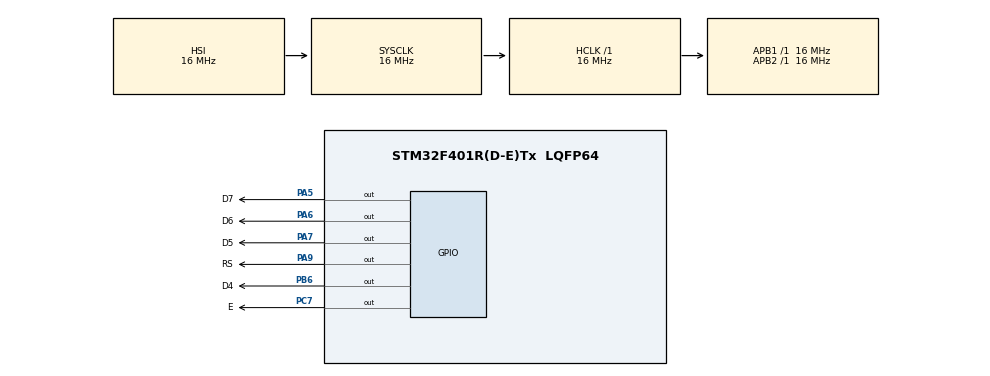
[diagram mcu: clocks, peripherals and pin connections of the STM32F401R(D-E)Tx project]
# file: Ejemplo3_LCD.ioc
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Mcu.Family=STM32F4
Mcu.Name=STM32F401R(D-E)Tx
Mcu.Package=LQFP64
NVIC.PriorityGroup=NVIC_PRIORITYGROUP_4
PA13.Mode=Serial_Wire
PA13.Signal=SYS_JTMS-SWDIO
PA14.Mode=Serial_Wire
PA14.Signal=SYS_JTCK-SWCLK
PA5.GPIO_Label=D7
PA5.Signal=GPIO_Output
PA6.GPIO_Label=D6
PA6.Signal=GPIO_Output
PA7.GPIO_Label=D5
PA7.Signal=GPIO_Output
PA9.GPIO_Label=RS
PA9.Signal=GPIO_Output
PB6.GPIO_Label=D4
PB6.Signal=GPIO_Output
PC7.GPIO_Label=E
PC7.Signal=GPIO_Output
ProjectManager.HeapSize=0x200
ProjectManager.StackSize=0x400
ProjectManager.TargetToolchain=STM32CubeIDE
RCC.AHBFreq_Value=16000000
RCC.APB1Freq_Value=16000000
RCC.APB2Freq_Value=16000000
RCC.CortexFreq_Value=16000000
RCC.HSE_VALUE=25000000
RCC.HSI_VALUE=16000000
RCC.LSE_VALUE=32768
RCC.SYSCLKFreq_VALUE=16000000
RCC.VCOOutputFreq_Value=192000000
board=custom

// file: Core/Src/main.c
/* USER CODE BEGIN Header */
/**
  ******************************************************************************
  * @file           : main.c
  * @brief          : Main program body
  ******************************************************************************
  * @attention
  *
  * Copyright (c) 2023 STMicroelectronics.
  * All rights reserved.
  *
  * This software is licensed under terms that can be found in the LICENSE file
  * in the root directory of this software component.
  * If no LICENSE file comes with this software, it is provided AS-IS.
  *
  ******************************************************************************
  */
/* USER CODE END Header */
#include "main.h"

/* USER CODE BEGIN Includes */
#include "LCD.h"
/* USER CODE END Includes */

void SystemClock_Config(void);
static void MX_GPIO_Init(void);

int main(void)
{

  /* MCU Configuration--------------------------------------------------------*/

  /* Reset of all peripherals, Initializes the Flash interface and the Systick. */
  HAL_Init();

  /* Configure the system clock */
  SystemClock_Config();

  /* Initialize all configured peripherals */
  MX_GPIO_Init();
  /* USER CODE BEGIN 2 */
  LCD_STM32_INIT();
 /* LCD_STM32_SET_CURSOR(5,fila2);
  LCD_STM32_PRINT_CHAR('S');
  LCD_STM32_PRINT_CHAR('T');
  LCD_STM32_PRINT_CHAR('M');
  LCD_STM32_PRINT_CHAR('3');
  LCD_STM32_PRINT_CHAR('2');*/

  LCD_STM32_New_Char(1, 0x0A,0x1F,0x1F, 0x1F,0x0E,0x04,0x00,0x00);
  LCD_STM32_New_Char(2,   0x00,0x0F,0x1F,0x18,0x18,0x1F,0x0F,0x00);
  LCD_STM32_SET_CURSOR(0, fila1);
  LCD_STM32_PRINT_STRING("Welcome STM32");
  LCD_STM32_Print_New_Char(2);
  LCD_STM32_SET_CURSOR(0, fila2);
  LCD_STM32_PRINT_STRING("GAAAAAA");
  LCD_STM32_Print_New_Char(1);

  uint8_t i=0;
  uint8_t i_str[5];
  /* USER CODE END 2 */

  /* Infinite loop */
  /* USER CODE BEGIN WHILE */
  while (1)
  {
	  for(i=0;i<255;i++){
		  sprintf(i_str,"%03u",i);
		  LCD_STM32_SET_CURSOR(10, fila2);
		  LCD_STM32_PRINT_STRING(i_str);
		  HAL_Delay(500);

	  }

    /* USER CODE END WHILE */

  }
}

void SystemClock_Config(void)
{
  RCC_OscInitTypeDef RCC_OscInitStruct = {0};
  RCC_ClkInitTypeDef RCC_ClkInitStruct = {0};

  /** Configure the main internal regulator output voltage
  */
  __HAL_RCC_PWR_CLK_ENABLE();
  __HAL_PWR_VOLTAGESCALING_CONFIG(PWR_REGULATOR_VOLTAGE_SCALE2);

  /** Initializes the RCC Oscillators according to the specified parameters
  * in the RCC_OscInitTypeDef structure.
  */
  RCC_OscInitStruct.OscillatorType = RCC_OSCILLATORTYPE_HSI;
  RCC_OscInitStruct.HSIState = RCC_HSI_ON;
  RCC_OscInitStruct.HSICalibrationValue = RCC_HSICALIBRATION_DEFAULT;
  RCC_OscInitStruct.PLL.PLLState = RCC_PLL_NONE;
  if (HAL_RCC_OscConfig(&RCC_OscInitStruct) != HAL_OK)
  {
    Error_Handler();
  }

  /** Initializes the CPU, AHB and APB buses clocks
  */
  RCC_ClkInitStruct.ClockType = RCC_CLOCKTYPE_HCLK|RCC_CLOCKTYPE_SYSCLK
                              |RCC_CLOCKTYPE_PCLK1|RCC_CLOCKTYPE_PCLK2;
  RCC_ClkInitStruct.SYSCLKSource = RCC_SYSCLKSOURCE_HSI;
  RCC_ClkInitStruct.AHBCLKDivider = RCC_SYSCLK_DIV1;
  RCC_ClkInitStruct.APB1CLKDivider = RCC_HCLK_DIV1;
  RCC_ClkInitStruct.APB2CLKDivider = RCC_HCLK_DIV1;

  if (HAL_RCC_ClockConfig(&RCC_ClkInitStruct, FLASH_LATENCY_0) != HAL_OK)
  {
    Error_Handler();
  }
}

static void MX_GPIO_Init(void)
{
  GPIO_InitTypeDef GPIO_InitStruct = {0};

  /* GPIO Ports Clock Enable */
  __HAL_RCC_GPIOA_CLK_ENABLE();
  __HAL_RCC_GPIOC_CLK_ENABLE();
  __HAL_RCC_GPIOB_CLK_ENABLE();

  /*Configure GPIO pin Output Level */
  HAL_GPIO_WritePin(GPIOA, D7_Pin|D6_Pin|D5_Pin|RS_Pin, GPIO_PIN_RESET);

  /*Configure GPIO pin Output Level */
  HAL_GPIO_WritePin(E_GPIO_Port, E_Pin, GPIO_PIN_RESET);

  /*Configure GPIO pin Output Level */
  HAL_GPIO_WritePin(D4_GPIO_Port, D4_Pin, GPIO_PIN_RESET);

  /*Configure GPIO pins : D7_Pin D6_Pin D5_Pin RS_Pin */
  GPIO_InitStruct.Pin = D7_Pin|D6_Pin|D5_Pin|RS_Pin;
  GPIO_InitStruct.Mode = GPIO_MODE_OUTPUT_PP;
  GPIO_InitStruct.Pull = GPIO_NOPULL;
  GPIO_InitStruct.Speed = GPIO_SPEED_FREQ_LOW;
  HAL_GPIO_Init(GPIOA, &GPIO_InitStruct);

  /*Configure GPIO pin : E_Pin */
  GPIO_InitStruct.Pin = E_Pin;
  GPIO_InitStruct.Mode = GPIO_MODE_OUTPUT_PP;
  GPIO_InitStruct.Pull = GPIO_NOPULL;
  GPIO_InitStruct.Speed = GPIO_SPEED_FREQ_LOW;
  HAL_GPIO_Init(E_GPIO_Port, &GPIO_InitStruct);

  /*Configure GPIO pin : D4_Pin */
  GPIO_InitStruct.Pin = D4_Pin;
  GPIO_InitStruct.Mode = GPIO_MODE_OUTPUT_PP;
  GPIO_InitStruct.Pull = GPIO_NOPULL;
  GPIO_InitStruct.Speed = GPIO_SPEED_FREQ_LOW;
  HAL_GPIO_Init(D4_GPIO_Port, &GPIO_InitStruct);

}

void Error_Handler(void)
{
  __disable_irq();
  while (1)
  {
  }
}
